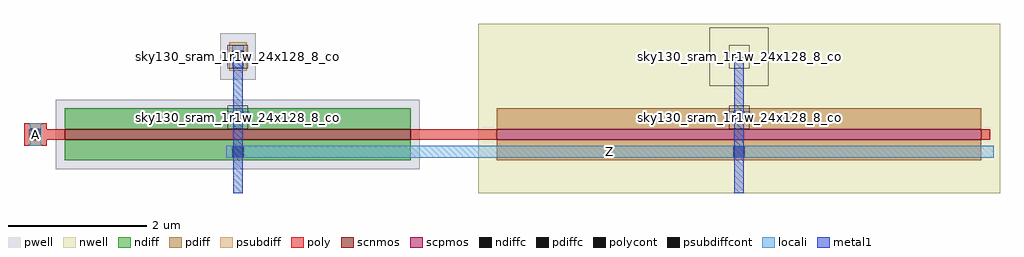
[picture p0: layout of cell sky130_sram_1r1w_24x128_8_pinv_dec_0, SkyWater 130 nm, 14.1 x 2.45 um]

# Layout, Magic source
magic
tech sky130B
magscale 1 2
<< nwell >>
rect 1356 0 2864 490
<< poly >>
rect 77 155 136 185
rect 1188 155 1384 185
<< locali >>
rect 60 137 94 203
rect 629 103 2846 137
<< metal1 >>
rect 648 0 676 395
rect 2096 0 2124 395
use sky130_sram_1r1w_24x128_8_contact_12  sky130_sram_1r1w_24x128_8_contact_12_0
transform 1 0 2085 0 1 354
box -59 -43 109 125
use sky130_sram_1r1w_24x128_8_contact_13  sky130_sram_1r1w_24x128_8_contact_13_0
transform 1 0 2081 0 1 187
box 0 0 58 66
use sky130_sram_1r1w_24x128_8_contact_13  sky130_sram_1r1w_24x128_8_contact_13_1
transform 1 0 633 0 1 187
box 0 0 58 66
use sky130_sram_1r1w_24x128_8_contact_13  sky130_sram_1r1w_24x128_8_contact_13_2
transform 1 0 633 0 1 362
box 0 0 58 66
use sky130_sram_1r1w_24x128_8_contact_13  sky130_sram_1r1w_24x128_8_contact_13_3
transform 1 0 2081 0 1 362
box 0 0 58 66
use sky130_sram_1r1w_24x128_8_contact_14  sky130_sram_1r1w_24x128_8_contact_14_0
transform 1 0 637 0 1 354
box -26 -26 76 108
use sky130_sram_1r1w_24x128_8_contact_15  sky130_sram_1r1w_24x128_8_contact_15_0
transform 1 0 44 0 1 137
box 0 0 66 66
use sky130_sram_1r1w_24x128_8_nmos_m1_w5_000_sli_dli_da_p  sky130_sram_1r1w_24x128_8_nmos_m1_w5_000_sli_dli_da_p_0
transform 0 1 162 -1 0 245
box -26 -26 176 1026
use sky130_sram_1r1w_24x128_8_pmos_m1_w7_000_sli_dli_da_p  sky130_sram_1r1w_24x128_8_pmos_m1_w7_000_sli_dli_da_p_0
transform 0 1 1410 -1 0 245
box -59 -54 209 1454
<< labels >>
rlabel locali s 77 170 77 170 4 A
port 1 nsew
rlabel locali s 1737 120 1737 120 4 Z
port 2 nsew
rlabel metal1 s 648 0 676 395 4 gnd
port 3 nsew
rlabel metal1 s 2096 0 2124 395 4 vdd
port 4 nsew
<< properties >>
string FIXED_BBOX 0 0 2846 395
<< end >>

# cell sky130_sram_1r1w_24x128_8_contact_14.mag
magic
tech sky130B
<< pwell >>
rect -13 -13 38 54
<< psubdiff >>
rect 0 29 25 41
rect 0 12 4 29
rect 21 12 25 29
rect 0 0 25 12
<< psubdiffcont >>
rect 4 12 21 29
<< locali >>
rect 4 29 21 37
rect 4 4 21 12
<< properties >>
string FIXED_BBOX -12 -12 37 53
<< end >>

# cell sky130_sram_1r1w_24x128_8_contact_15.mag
magic
tech sky130B
<< poly >>
rect 0 25 33 33
rect 0 8 8 25
rect 25 8 33 25
rect 0 0 33 8
<< polycont >>
rect 8 8 25 25
<< locali >>
rect 8 25 25 33
rect 8 0 25 8
<< properties >>
string FIXED_BBOX -10 -10 43 43
<< end >>

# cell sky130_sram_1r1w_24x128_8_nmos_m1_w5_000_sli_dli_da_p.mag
magic
tech sky130B
magscale 1 2
<< pwell >>
rect -26 -26 176 1026
<< scnmos >>
rect 60 0 90 1000
<< ndiff >>
rect 0 0 60 1000
rect 90 0 150 1000
<< poly >>
rect 60 1000 90 1026
rect 60 -26 90 0
<< locali >>
rect 8 467 42 533
rect 108 467 142 533
use sky130_sram_1r1w_24x128_8_contact_10  sky130_sram_1r1w_24x128_8_contact_10_0
transform 1 0 100 0 1 467
box -26 -22 76 88
use sky130_sram_1r1w_24x128_8_contact_10  sky130_sram_1r1w_24x128_8_contact_10_1
transform 1 0 0 0 1 467
box -26 -22 76 88
<< labels >>
rlabel poly s 75 500 75 500 4 G
port 1 nsew
rlabel locali s 25 500 25 500 4 S
port 2 nsew
rlabel locali s 125 500 125 500 4 D
port 3 nsew
<< properties >>
string FIXED_BBOX -25 -26 175 1026
<< end >>

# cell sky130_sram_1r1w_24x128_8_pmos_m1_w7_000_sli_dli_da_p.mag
magic
tech sky130B
magscale 1 2
<< nwell >>
rect -54 -54 204 1454
<< scpmos >>
rect 60 0 90 1400
<< pdiff >>
rect 0 0 60 1400
rect 90 0 150 1400
<< poly >>
rect 60 1400 90 1426
rect 60 -26 90 0
<< locali >>
rect 8 667 42 733
rect 108 667 142 733
use sky130_sram_1r1w_24x128_8_contact_11  sky130_sram_1r1w_24x128_8_contact_11_0
transform 1 0 100 0 1 667
box -59 -51 109 117
use sky130_sram_1r1w_24x128_8_contact_11  sky130_sram_1r1w_24x128_8_contact_11_1
transform 1 0 0 0 1 667
box -59 -51 109 117
<< labels >>
rlabel poly s 75 700 75 700 4 G
port 1 nsew
rlabel locali s 25 700 25 700 4 S
port 2 nsew
rlabel locali s 125 700 125 700 4 D
port 3 nsew
<< properties >>
string FIXED_BBOX -54 -54 204 1454
<< end >>

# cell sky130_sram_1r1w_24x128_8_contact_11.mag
magic
tech sky130B
magscale 1 2
<< nwell >>
rect -59 -51 109 117
<< pdiff >>
rect 0 50 50 62
rect 0 16 8 50
rect 42 16 50 50
rect 0 4 50 16
<< pdiffc >>
rect 8 16 42 50
<< locali >>
rect 8 50 42 66
rect 8 0 42 16
<< properties >>
string FIXED_BBOX -59 -51 109 117
<< end >>

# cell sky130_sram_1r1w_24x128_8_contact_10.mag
magic
tech sky130B
<< pwell >>
rect -13 -11 38 44
<< ndiff >>
rect 0 25 25 31
rect 0 8 4 25
rect 21 8 25 25
rect 0 2 25 8
<< ndiffc >>
rect 4 8 21 25
<< locali >>
rect 4 25 21 33
rect 4 0 21 8
<< properties >>
string FIXED_BBOX -12 -10 37 43
<< end >>
